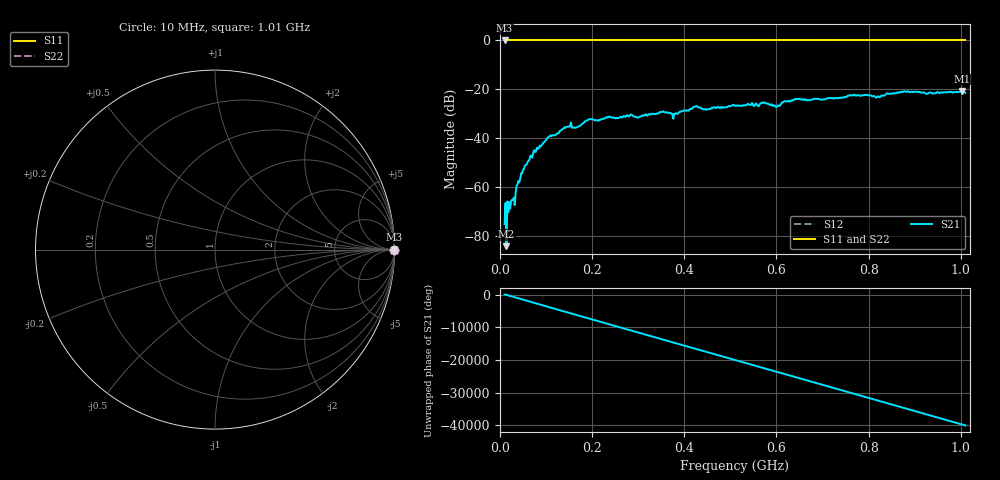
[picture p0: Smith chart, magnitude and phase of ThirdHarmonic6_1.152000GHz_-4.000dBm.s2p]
! 8/16/2025 11:26:39 AM
! C:\ANRITSUVNA\TEMP\TEMP.S2P
! CHANNEL.1
! TR.MEASUREMENT
! RAW.DATA
! RF.CORRECTION.OFF
! AVERAGING.OFF
! IF.BANDWIDTH: 5KHZ
! SWEEPTYPE:  FREQ.SWEEP(Linear)
! Reference Plane Port Info
! PORT:  PORT1  PORT2
! DISTANCE:  0  m  0  m
! TIME:  0  s  0  s
! PHASE.OFFSET:  0  deg.  0  deg.
! LOSS:  0  dB  0  dB
! REF.LOSS:  0  dB  0  dB
! REF.FREQ:  0  Hz  0  Hz
! Power Info
! POWER:  -20  dBm  -20  dBm
! EFF.POWER:  -20  dBm  -20  dBm
! SOURCE.ATTEN:  0  dB  0  dB
! TEST.ATTEN:  0  dB  0  dB
# GHZ S RI R 50.0
! FREQ.GHZ  S11RE  S11IM  S21RE  S21IM  S12RE  S12IM  S22RE  S22IM
!; PortSelection: Port_12
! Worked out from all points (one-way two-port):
!   501 points, 10 MHz to 1.01 GHz, reference 50 ohm
!   highest |S21| = -20.69 dB at 1.002 GHz (marker M1); lowest = -84.1 dB at 14 MHz (marker M2)
!   lowest |S11| = 0.0 dB at 10 MHz (marker M3)
!   |S11| at or under -10 dB: nowhere
!   |S22| runs from 0.0 to 0.0 dB; largest |S21 - S12| = 1.1
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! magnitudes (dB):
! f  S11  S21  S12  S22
! 10 MHz  0.0  -75.0  0.0  0.0
! 14 MHz  0.0  -84.1  0.0  0.0
! 18 MHz  0.0  -70.2  0.0  0.0
! 20 MHz  0.0  -66.1  0.0  0.0
! 30 MHz  0.0  -64.2  0.0  0.0
! 50 MHz  0.0  -52.8  0.0  0.0
! 76 MHz  0.0  -45.5  0.0  0.0
! 106 MHz  0.0  -39.4  0.0  0.0
! 150 MHz  0.0  -35.2  0.0  0.0
! 178 MHz  0.0  -34.1  0.0  0.0
! 196 MHz  0.0  -32.2  0.0  0.0
! 344 MHz  0.0  -29.8  0.0  0.0
! 380 MHz  0.0  -30.1  0.0  0.0
! 424 MHz  0.0  -27.0  0.0  0.0
! 510 MHz  0.0  -26.7  0.0  0.0
! 572 MHz  0.0  -25.4  0.0  0.0
! 602 MHz  0.0  -26.7  0.0  0.0
! 644 MHz  0.0  -24.0  0.0  0.0
! 678 MHz  0.0  -24.1  0.0  0.0
! 844 MHz  0.0  -21.8  0.0  0.0
! 1.002 GHz  0.0  -20.7  0.0  0.0
! 1.01 GHz  0.0  -21.4  0.0  0.0
